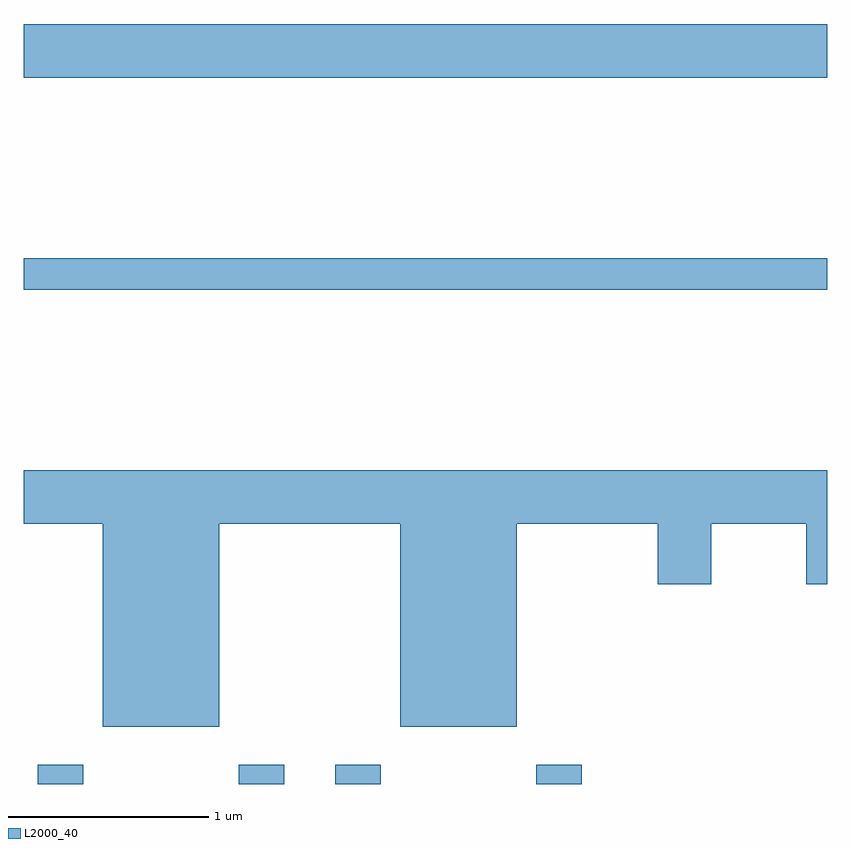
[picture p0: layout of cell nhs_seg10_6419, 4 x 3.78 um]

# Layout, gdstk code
import gdstk
lib = gdstk.Library(unit=1e-6, precision=1e-09)
def R(c, l, rs):  # rectangles x0, y0, x1, y1
    for r in rs: c.add(gdstk.rectangle(r[:2], r[2:], *l))
def P(c, l, *ps):  # polygons
    for p in ps: c.add(gdstk.Polygon(p, *l))
L2000_40 = (2000, 40)

nhs_seg10_6419 = lib.new_cell('nhs_seg10_6419')
R(nhs_seg10_6419, L2000_40, [(373.681,2212.522,373.909,2212.619), (374.681,2212.522,374.909,2212.619), (375.161,2212.522,375.389,2212.619), (376.161,2212.522,376.389,2212.619), (373.611,2214.981,377.611,2215.139), (373.611,2216.036,377.611,2216.304)])
P(nhs_seg10_6419, L2000_40, [(374.584,2213.816),(375.486,2213.816),(375.486,2212.806),(376.064,2212.806),(376.064,2213.816),(376.766,2213.816),(376.766,2213.516),(377.034,2213.516),(377.034,2213.816),(377.506,2213.816),(377.506,2213.516),(377.611,2213.516),(377.611,2214.084),(373.611,2214.084),(373.611,2213.816),(374.006,2213.816),(374.006,2212.806),(374.584,2212.806)])

lib.write_gds('nhs_seg10_6419.gds')
